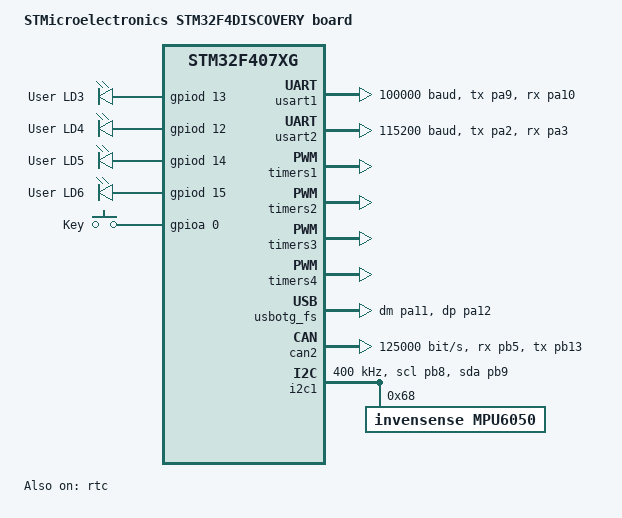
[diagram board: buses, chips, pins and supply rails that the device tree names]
/*
 * Copyright (c) 2017 Linaro Limited
 *
 * SPDX-License-Identifier: Apache-2.0
 */

 /dts-v1/;
 #include <st/f4/stm32f407Xg.dtsi>
 #include <st/f4/stm32f407v(e-g)tx-pinctrl.dtsi>
 
 / {
	 model = "STMicroelectronics STM32F4DISCOVERY board";
	 compatible = "st,stm32f4discovery";
 
	 chosen {
		 zephyr,console = &usart2;
		 zephyr,shell-uart = &usart2;
		 zephyr,sram = &sram0;
		 zephyr,flash = &flash0;
		 zephyr,ccm = &ccm0;
		 zephyr,can-primary = &can2;
	 };
 
	 leds {
		 compatible = "gpio-leds";
		 orange_led_3: led_3 {
			 gpios = <&gpiod 13 GPIO_ACTIVE_HIGH>;
			 label = "User LD3";
		 };
		 green_led_4: led_4 {
			 gpios = <&gpiod 12 GPIO_ACTIVE_HIGH>;
			 label = "User LD4";
		 };
		 red_led_5: led_5 {
			 gpios = <&gpiod 14 GPIO_ACTIVE_HIGH>;
			 label = "User LD5";
		 };
		 blue_led_6: led_6 {
			 gpios = <&gpiod 15 GPIO_ACTIVE_HIGH>;
			 label = "User LD6";
		 };
	 };
 
	 gpio_keys {
		 compatible = "gpio-keys";
		 user_button: button {
			 label = "Key";
			 gpios = <&gpioa 0 GPIO_ACTIVE_HIGH>;
		 };
	 };
 
	 aliases {
		 led0 = &green_led_4;
		 led1 = &orange_led_3;
		 led2 = &red_led_5;
		 led3 = &blue_led_6;
		 sw0 = &user_button;
		 pwm1 = &pwm1;
		 pwm2 = &pwm2;
		 pwm3 = &pwm3;
		 pwm4 = &pwm4;
	 };
 };
 
 &usart1 { 
	 pinctrl-0 = <&usart1_tx_pa9 &usart1_rx_pa10>;
	 current-speed = <100000>;
	//  current-speed = <115200>;
	 status = "okay";
 };
 
 &usart2 {
	 pinctrl-0 = <&usart2_tx_pa2 &usart2_rx_pa3>;
	 current-speed = <115200>;
	 status = "okay";
 };
 
 // Timer 1
 
 &timers1 {
	 status = "okay";
 
	 pwm1: pwm {
		 status = "okay";
		 pinctrl-0 = <&tim1_ch1_pa8>;
		 label = "pwm1";
	 };
 };
 
 
 
 // Timer 2
 
 
 &timers2 {
	 status = "okay";
 
	 pwm2: pwm {
		 status = "okay";
		 pinctrl-0 = <&tim2_ch1_pa0>;
		 label = "pwm2";
	 };
 };
 
 
 // Timer 3
 
 
 &timers3 {
	 status = "okay";
 
	 pwm3: pwm {
		 status = "okay";
		 pinctrl-0 = <&tim2_ch1_pa0>;
		 label = "pwm3";
	 };
 };
 
 // Timer 4
 
 
 &timers4 {
	 status = "okay";
	 pwm4: pwm {
		 status = "okay";
		 pinctrl-0 = <&tim2_ch2_pb3>;
		 label = "pwm4";
	 };
 };
 
 &rtc {
	 status = "okay";
 };
 
 &usbotg_fs {
	 pinctrl-0 = <&usb_otg_fs_dm_pa11 &usb_otg_fs_dp_pa12>;
	 status = "okay";
 };
 
 &can1 {
	 pinctrl-0 = <&can1_rx_pb8 &can1_tx_pb9>;
	 bus-speed = <125000>;
	 status = "disabled";
 };
 
 &can2 {
	 pinctrl-0 = <&can2_rx_pb5 &can2_tx_pb13>;
	 bus-speed = <125000>;
	 status = "okay";
 };

 &i2c1 {
	pinctrl-0 = <&i2c1_scl_pb8 &i2c1_sda_pb9>;
	status = "okay";
	clock-frequency = <I2C_BITRATE_FAST>;
	label = "i2c1";
	mpu6050@68 {
		compatible = "invensense,mpu6050";
		reg = <0x68>;
		status = "okay";
		label = "MPU6050";
		// int-gpios = <&gpiob 11 GPIO_ACTIVE_HIGH>;
	};
	// mpu9250@68
};
 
